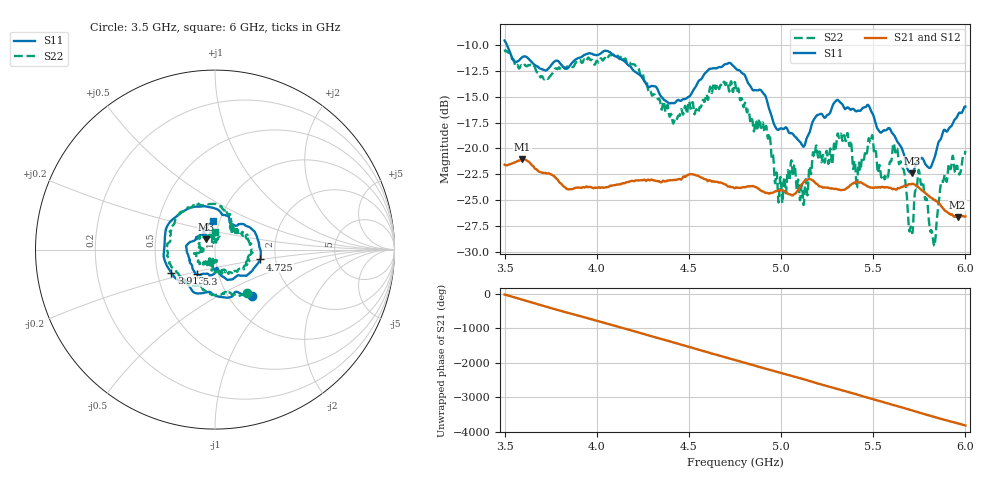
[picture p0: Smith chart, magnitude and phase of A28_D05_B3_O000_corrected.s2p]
! Created with skrf 1.9.0 (http://scikit-rf.org).
# Hz S RI R 50.0
!freq ReS11 ImS11 ReS21 ImS21 ReS12 ImS12 ReS22 ImS22
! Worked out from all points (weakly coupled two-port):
!   1601 points, 3.5 GHz to 6 GHz, reference 50 ohm
!   highest |S21| = -21.05 dB at 3.595 GHz (marker M1); lowest = -26.6 dB at 5.958 GHz (marker M2)
!   lowest |S11| = -22.4 dB at 5.709 GHz (marker M3), VSWR 1.16, Z = 45 + j5.15 ohm
!   |S11| at or under -10 dB: 3.513 GHz to end of sweep
!   |S22| runs from -29.4 to -10.4 dB; largest |S21 - S12| = 0.00092
!   S11 on the Smith chart (normalised r, x): 3.5 GHz: 1.27, -0.75; 3.913 GHz: 0.59, -0.17; 4.725 GHz: 1.66, -0.19; 5.3 GHz: 0.79, -0.22; 6 GHz: 0.93, +0.30
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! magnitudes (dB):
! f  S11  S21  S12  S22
! 3.5 GHz  -9.6  -21.6  -21.6  -10.4
! 3.595 GHz  -11.2  -21.1  -21.1  -12.1
! 3.913 GHz  -11.2  -23.8  -23.8  -11.5
! 3.917 GHz  -11.2  -23.8  -23.8  -11.7
! 4.144 GHz  -11.5  -23.4  -23.3  -11.4
! 4.334 GHz  -14.5  -23.2  -23.1  -15.2
! 4.422 GHz  -15.6  -23.1  -23.0  -17.3
! 4.725 GHz  -11.8  -23.7  -23.6  -13.8
! 4.75 GHz  -12.2  -23.8  -23.8  -13.6
! 4.928 GHz  -15.7  -24.3  -24.3  -19.0
! 4.995 GHz  -18.1  -24.1  -24.0  -22.8
! 5.114 GHz  -19.7  -23.4  -23.4  -23.6
! 5.167 GHz  -17.6  -23.1  -23.0  -21.6
! 5.3 GHz  -15.4  -23.9  -23.9  -19.5
! 5.584 GHz  -18.0  -23.8  -23.8  -22.1
! 5.622 GHz  -19.0  -24.0  -24.0  -20.3
! 5.709 GHz  -22.4  -23.4  -23.4  -28.1
! 5.755 GHz  -21.0  -23.9  -23.9  -22.9
! 5.83 GHz  -21.0  -25.0  -24.9  -29.3
! 5.877 GHz  -18.5  -25.7  -25.7  -23.2
! 5.958 GHz  -16.8  -26.6  -26.6  -22.1
! 6 GHz  -16.0  -26.6  -26.5  -20.2
